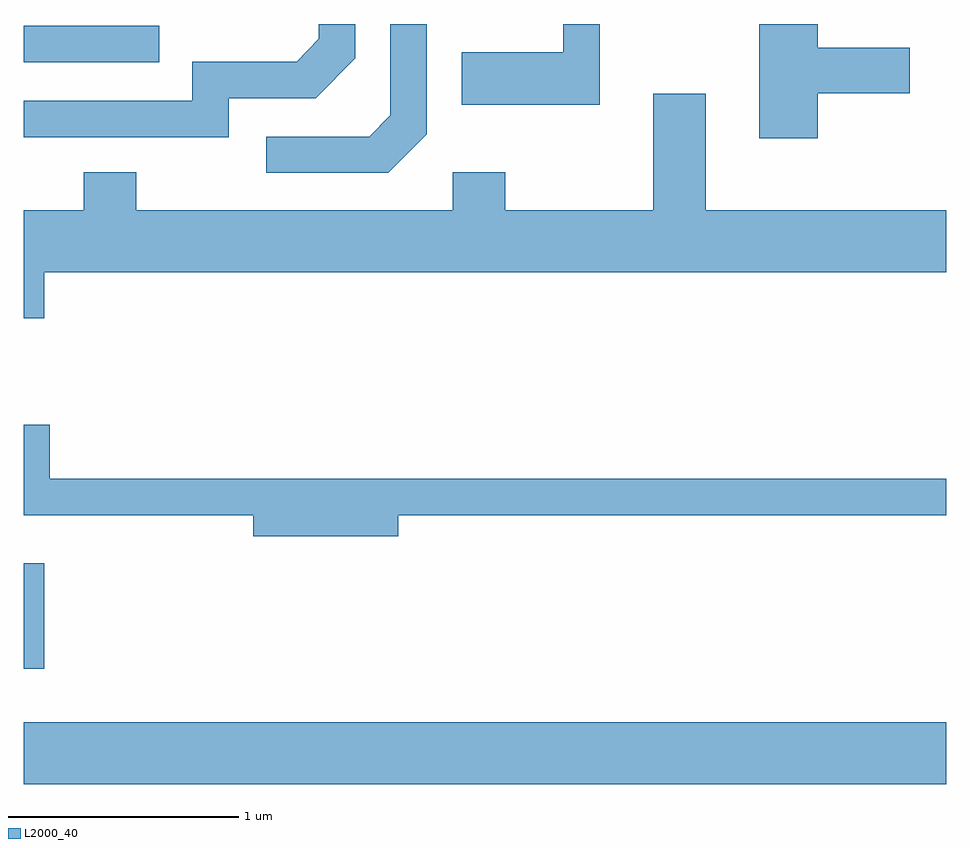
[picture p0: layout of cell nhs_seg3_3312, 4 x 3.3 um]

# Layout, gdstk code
import gdstk
lib = gdstk.Library(unit=1e-6, precision=1e-09)
def R(c, l, rs):  # rectangles x0, y0, x1, y1
    for r in rs: c.add(gdstk.rectangle(r[:2], r[2:], *l))
def P(c, l, *ps):  # polygons
    for p in ps: c.add(gdstk.Polygon(p, *l))
L2000_40 = (2000, 40)

nhs_seg3_3312 = lib.new_cell('nhs_seg3_3312')
R(nhs_seg3_3312, L2000_40, [(281.611,1212.596,285.611,1212.864), (281.611,1213.096,281.699,1213.554), (281.611,1215.726,282.198,1215.884)])
P(nhs_seg3_3312, L2000_40, [(282.499,1215.571),(282.877,1215.571),(283.049,1215.744),(283.049,1215.892),(282.891,1215.892),(282.891,1215.827),(282.794,1215.729),(282.341,1215.729),(282.341,1215.559),(281.611,1215.559),(281.611,1215.401),(282.499,1215.401)],
  [(283.359,1215.414),(283.359,1215.892),(283.201,1215.892),(283.201,1215.497),(283.109,1215.404),(282.663,1215.404),(282.663,1215.246),(283.192,1215.246)],
  [(285.054,1215.591),(285.454,1215.591),(285.454,1215.789),(285.054,1215.789),(285.054,1215.892),(284.801,1215.892),(284.801,1215.396),(285.054,1215.396)],
  [(284.109,1215.892),(283.951,1215.892),(283.951,1215.769),(283.511,1215.769),(283.511,1215.541),(284.109,1215.541)],
  [(281.699,1214.816),(285.611,1214.816),(285.611,1215.084),(284.569,1215.084),(284.569,1215.589),(284.341,1215.589),(284.341,1215.084),(283.699,1215.084),(283.699,1215.249),(283.471,1215.249),(283.471,1215.084),(282.099,1215.084),(282.099,1215.249),(281.871,1215.249),(281.871,1215.084),(281.611,1215.084),(281.611,1214.616),(281.699,1214.616)],
  [(283.234,1213.761),(285.611,1213.761),(285.611,1213.919),(281.724,1213.919),(281.724,1214.154),(281.611,1214.154),(281.611,1213.761),(282.606,1213.761),(282.606,1213.671),(283.234,1213.671)])

lib.write_gds('nhs_seg3_3312.gds')
